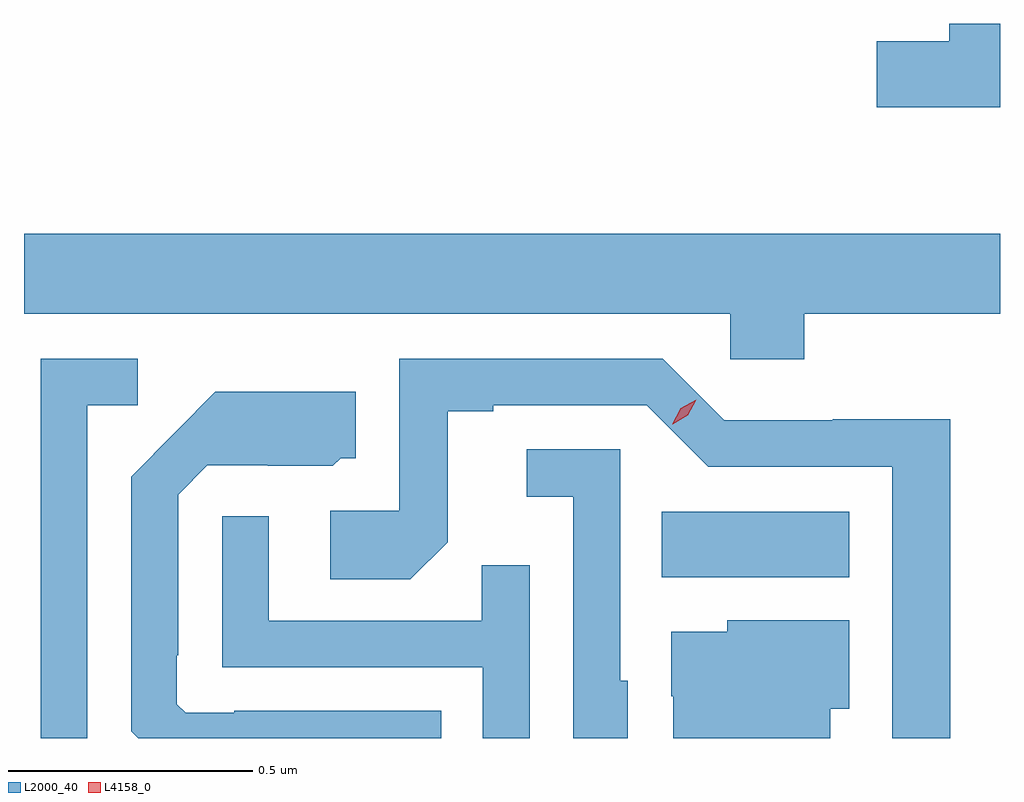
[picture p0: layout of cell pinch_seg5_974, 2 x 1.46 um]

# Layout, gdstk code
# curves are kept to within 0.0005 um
import gdstk
lib = gdstk.Library(unit=1e-6, precision=1e-09)
def R(c, l, rs):  # rectangles x0, y0, x1, y1
    for r in rs: c.add(gdstk.rectangle(r[:2], r[2:], *l))
def P(c, l, *ps):  # polygons
    for p in ps: c.add(gdstk.Polygon(p, *l))
L2000_40 = (2000, 40)
L4158_0 = (4158, 0)

pinch_seg5_974 = lib.new_cell('pinch_seg5_974')
R(pinch_seg5_974, L2000_40, [(702.136,912.164,702.52,912.298)])
P(pinch_seg5_974, L2000_40, [(702.829,913.298),(702.725,913.298),(702.725,913.262),(702.576,913.262),(702.576,913.127),(702.829,913.127)],
  [(702.428,912.704),(702.829,912.704),(702.829,912.868),(700.829,912.868),(700.829,912.704),(702.276,912.704),(702.276,912.611),(702.428,912.611)],
  [(700.959,912.516),(701.062,912.516),(701.062,912.612),(700.863,912.612),(700.863,911.834),(700.959,911.834)],
  [(702.727,912.488),(702.486,912.488),(702.486,912.486),(702.264,912.486),(702.138,912.612),(701.598,912.612),(701.598,912.3),(701.457,912.3),(701.457,912.16),(701.621,912.16),(701.697,912.236),(701.697,912.504),(701.791,912.504),(701.791,912.516),(702.105,912.516),(702.231,912.39),(702.608,912.39),(702.608,911.834),(702.727,911.834)],
  [(701.684,911.89),(701.26,911.89),(701.26,911.886),(701.16,911.886),(701.142,911.904),(701.142,912.004),(701.145,912.004),(701.145,912.333),(701.205,912.393),(701.328,912.393),(701.328,912.392),(701.462,912.392),(701.478,912.408),(701.509,912.408),(701.509,912.544),(701.221,912.544),(701.049,912.37),(701.049,911.848),(701.063,911.834),(701.684,911.834)],
  [(702.066,911.952),(702.051,911.952),(702.051,912.426),(701.859,912.426),(701.859,912.329),(701.955,912.329),(701.955,911.834),(702.066,911.834)],
  [(701.865,912.188),(701.767,912.188),(701.767,912.075),(701.331,912.075),(701.331,912.289),(701.235,912.289),(701.235,911.979),(701.769,911.979),(701.769,911.834),(701.865,911.834)],
  [(702.481,911.894),(702.52,911.894),(702.52,912.076),(702.27,912.076),(702.27,912.052),(702.155,912.052),(702.155,911.92),(702.159,911.92),(702.159,911.834),(702.481,911.834)])
P(pinch_seg5_974, L4158_0, [(702.157,912.477),(702.157,912.477),(702.175,912.51),(702.207,912.528),(702.207,912.528),(702.207,912.528),(702.189,912.496),(702.158,912.477)])

lib.write_gds('pinch_seg5_974.gds')
